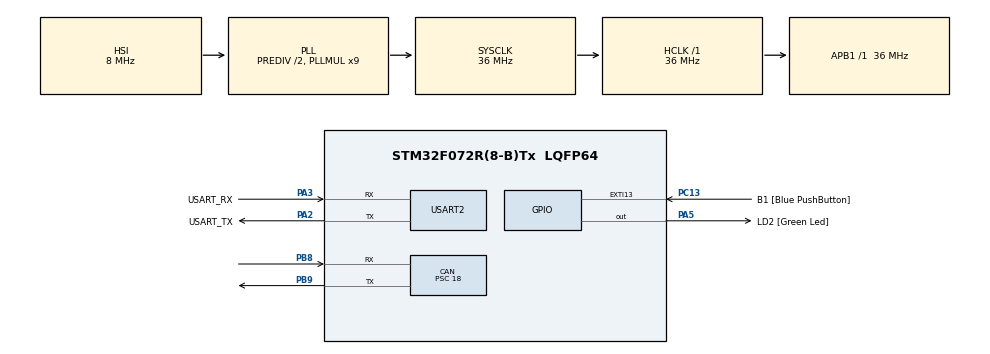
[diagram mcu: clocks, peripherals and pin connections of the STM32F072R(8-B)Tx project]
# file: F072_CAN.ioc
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CAN.BS1=CAN_BS1_8TQ
CAN.BS2=CAN_BS2_7TQ
CAN.CalculateBaudRate=125000
CAN.CalculateTimeBit=8000
CAN.CalculateTimeQuantum=500.0
CAN.Mode=CAN_MODE_NORMAL
CAN.NART=DISABLE
CAN.Prescaler=18
CAN.RFLM=DISABLE
Mcu.Family=STM32F0
Mcu.Name=STM32F072R(8-B)Tx
Mcu.Package=LQFP64
NVIC.CEC_CAN_IRQn=true\:0\:0\:false\:false\:true\:true\:true\:true
PA13.GPIO_Label=TMS
PA13.Mode=Serial_Wire
PA13.Signal=SYS_SWDIO
PA14.GPIO_Label=TCK
PA14.Mode=Serial_Wire
PA14.Signal=SYS_SWCLK
PA2.GPIO_Label=USART_TX
PA2.GPIO_Mode=GPIO_MODE_AF_PP
PA2.GPIO_PuPd=GPIO_NOPULL
PA2.GPIO_Speed=GPIO_SPEED_FREQ_LOW
PA2.Mode=Asynchronous
PA2.Signal=USART2_TX
PA3.GPIO_Label=USART_RX
PA3.GPIO_Mode=GPIO_MODE_AF_PP
PA3.GPIO_PuPd=GPIO_NOPULL
PA3.GPIO_Speed=GPIO_SPEED_FREQ_LOW
PA3.Mode=Asynchronous
PA3.Signal=USART2_RX
PA5.GPIO_Label=LD2 [Green Led]
PA5.GPIO_Mode=GPIO_MODE_OUTPUT_PP
PA5.GPIO_PuPd=GPIO_NOPULL
PA5.GPIO_Speed=GPIO_SPEED_FREQ_LOW
PA5.Signal=GPIO_Output
PB8.Mode=CAN_Activate
PB8.Signal=CAN_RX
PB9.Mode=CAN_Activate
PB9.Signal=CAN_TX
PC13.GPIO_Label=B1 [Blue PushButton]
PC13.GPIO_ModeDefaultEXTI=GPIO_MODE_IT_FALLING
PC13.Signal=GPXTI13
PC14-OSC32_IN.Mode=LSE-External-Oscillator
PC14-OSC32_IN.Signal=RCC_OSC32_IN
PC15-OSC32_OUT.Mode=LSE-External-Oscillator
PC15-OSC32_OUT.Signal=RCC_OSC32_OUT
PF0-OSC_IN.Mode=HSE-External-Clock-Source
PF0-OSC_IN.Signal=RCC_OSC_IN
PF1-OSC_OUT.Signal=RCC_OSC_OUT
ProjectManager.HeapSize=0x200
ProjectManager.StackSize=0x400
ProjectManager.TargetToolchain=STM32CubeIDE
RCC.AHBFreq_Value=36000000
RCC.APB1Freq_Value=36000000
RCC.APB1TimFreq_Value=36000000
RCC.FLatency-AdvancedSettings=FLASH_LATENCY_1
RCC.HCLKFreq_Value=36000000
RCC.PLLDivider=RCC_PREDIV_DIV2
RCC.PLLMUL=RCC_PLL_MUL9
RCC.PREFETCH_ENABLE-AdvancedSettings=1
RCC.SYSCLKFreq_VALUE=36000000
RCC.SYSCLKSource=RCC_SYSCLKSOURCE_PLLCLK
USART2.VirtualMode=VM_ASYNC
USART2.VirtualMode-Asynchronous=VM_ASYNC
board=NUCLEO-F072RB

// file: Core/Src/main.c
/* USER CODE BEGIN Header */
/* USER CODE END Header */
#include "main.h"

 CAN_HandleTypeDef hcan;

UART_HandleTypeDef huart2;

void SystemClock_Config(void);
static void MX_GPIO_Init(void);
static void MX_USART2_UART_Init(void);
static void MX_CAN_Init(void);

/* USER CODE BEGIN 0 */

CAN_TxHeaderTypeDef TxHeader;
CAN_RxHeaderTypeDef RxHeader;

uint32_t TxMailbox;
uint8_t TxData[8];
uint8_t RxData[8];

uint8_t count = 0;

void HAL_CAN_RxFifo0MsgPendingCallback(CAN_HandleTypeDef *hcan){

}

/* USER CODE END 0 */

int main(void)
{

  /* MCU Configuration--------------------------------------------------------*/

  /* Reset of all peripherals, Initializes the Flash interface and the Systick. */
  HAL_Init();

  /* Configure the system clock */
  SystemClock_Config();

  /* Initialize all configured peripherals */
  MX_GPIO_Init();
  MX_USART2_UART_Init();
  MX_CAN_Init();
  /* USER CODE BEGIN 2 */

  HAL_CAN_Start(&hcan);

  HAL_CAN_ActivateNotification(&hcan, CAN_IT_RX_FIFO0_MSG_PENDING);

  TxHeader.DLC = 1;
  TxHeader.ExtId = 0;
  TxHeader.IDE = CAN_ID_STD;
  TxHeader.RTR = CAN_RTR_DATA;
  TxHeader.StdId = 0x102;
  TxHeader.TransmitGlobalTime = DISABLE;

  TxData[0]= 0x11;

  HAL_GPIO_WritePin(LD2_GPIO_Port, LD2_Pin, 1);

  /* USER CODE END 2 */

  /* Infinite loop */
  /* USER CODE BEGIN WHILE */
  while (1)
  {
	  HAL_GPIO_WritePin(LD2_GPIO_Port, LD2_Pin, 1);			//sygnalizacja dzialania petli
	  if(HAL_GPIO_ReadPin(B1_GPIO_Port, B1_Pin)==0){		//wcisniecie przycisku zaczyna wyliczanie i wysylanie kolejnych adresow
		  for(int i=1;i<(0xEFF-1);i++){						//wyliczanie od 1 do max adresu w STANDARD CAN
		  TxHeader.StdId=i;
		  HAL_CAN_AddTxMessage(&hcan, &TxHeader, TxData, &TxMailbox);
		  HAL_Delay(500);

		  if(HAL_GPIO_ReadPin(B1_GPIO_Port, B1_Pin)==0){	//wyjscie z podwojnym sprawdzeniem przycisku i mrugnieciem ledem
			  HAL_Delay(500);
			  if(HAL_GPIO_ReadPin(B1_GPIO_Port, B1_Pin)==0){
			  HAL_GPIO_WritePin(LD2_GPIO_Port, LD2_Pin, 0);
			  HAL_Delay(500);
			  HAL_GPIO_WritePin(LD2_GPIO_Port, LD2_Pin, 1);
			  HAL_Delay(500);
			  break;
			  }
		  }
		  }
	  }

    /* USER CODE END WHILE */

  }
}

void SystemClock_Config(void)
{
  RCC_OscInitTypeDef RCC_OscInitStruct = {0};
  RCC_ClkInitTypeDef RCC_ClkInitStruct = {0};
  RCC_PeriphCLKInitTypeDef PeriphClkInit = {0};

  /** Initializes the RCC Oscillators according to the specified parameters
  * in the RCC_OscInitTypeDef structure.
  */
  RCC_OscInitStruct.OscillatorType = RCC_OSCILLATORTYPE_HSI;
  RCC_OscInitStruct.HSIState = RCC_HSI_ON;
  RCC_OscInitStruct.HSICalibrationValue = RCC_HSICALIBRATION_DEFAULT;
  RCC_OscInitStruct.PLL.PLLState = RCC_PLL_ON;
  RCC_OscInitStruct.PLL.PLLSource = RCC_PLLSOURCE_HSI;
  RCC_OscInitStruct.PLL.PLLMUL = RCC_PLL_MUL9;
  RCC_OscInitStruct.PLL.PREDIV = RCC_PREDIV_DIV2;
  if (HAL_RCC_OscConfig(&RCC_OscInitStruct) != HAL_OK)
  {
    Error_Handler();
  }

  /** Initializes the CPU, AHB and APB buses clocks
  */
  RCC_ClkInitStruct.ClockType = RCC_CLOCKTYPE_HCLK|RCC_CLOCKTYPE_SYSCLK
                              |RCC_CLOCKTYPE_PCLK1;
  RCC_ClkInitStruct.SYSCLKSource = RCC_SYSCLKSOURCE_PLLCLK;
  RCC_ClkInitStruct.AHBCLKDivider = RCC_SYSCLK_DIV1;
  RCC_ClkInitStruct.APB1CLKDivider = RCC_HCLK_DIV1;

  if (HAL_RCC_ClockConfig(&RCC_ClkInitStruct, FLASH_LATENCY_1) != HAL_OK)
  {
    Error_Handler();
  }
  PeriphClkInit.PeriphClockSelection = RCC_PERIPHCLK_USART2;
  PeriphClkInit.Usart2ClockSelection = RCC_USART2CLKSOURCE_PCLK1;
  if (HAL_RCCEx_PeriphCLKConfig(&PeriphClkInit) != HAL_OK)
  {
    Error_Handler();
  }
}

static void MX_CAN_Init(void)
{

  hcan.Instance = CAN;
  hcan.Init.Prescaler = 18;
  hcan.Init.Mode = CAN_MODE_NORMAL;
  hcan.Init.SyncJumpWidth = CAN_SJW_1TQ;
  hcan.Init.TimeSeg1 = CAN_BS1_8TQ;
  hcan.Init.TimeSeg2 = CAN_BS2_7TQ;
  hcan.Init.TimeTriggeredMode = DISABLE;
  hcan.Init.AutoBusOff = DISABLE;
  hcan.Init.AutoWakeUp = DISABLE;
  hcan.Init.AutoRetransmission = DISABLE;
  hcan.Init.ReceiveFifoLocked = DISABLE;
  hcan.Init.TransmitFifoPriority = DISABLE;
  if (HAL_CAN_Init(&hcan) != HAL_OK)
  {
    Error_Handler();
  }
  /* USER CODE BEGIN CAN_Init 2 */

  CAN_FilterTypeDef canfilterconfig;

  canfilterconfig.FilterActivation = CAN_FILTER_ENABLE;
  canfilterconfig.FilterBank = 18;  // which filter bank to use from the assigned ones
  canfilterconfig.FilterFIFOAssignment = CAN_RX_FIFO0;
  canfilterconfig.FilterIdHigh = 0x103<<5;
  canfilterconfig.FilterIdLow = 0x0000;
  canfilterconfig.FilterMaskIdHigh = 0x103<<5;
  canfilterconfig.FilterMaskIdLow = 0x0000;
  canfilterconfig.FilterMode = CAN_FILTERMODE_IDMASK;
  canfilterconfig.FilterScale = CAN_FILTERSCALE_32BIT;
  canfilterconfig.SlaveStartFilterBank = 20;  // how many filters to assign to the CAN1 (master can)

  HAL_CAN_ConfigFilter(&hcan, &canfilterconfig);
  /* USER CODE END CAN_Init 2 */

}

static void MX_USART2_UART_Init(void)
{

  huart2.Instance = USART2;
  huart2.Init.BaudRate = 38400;
  huart2.Init.WordLength = UART_WORDLENGTH_8B;
  huart2.Init.StopBits = UART_STOPBITS_1;
  huart2.Init.Parity = UART_PARITY_NONE;
  huart2.Init.Mode = UART_MODE_TX_RX;
  huart2.Init.HwFlowCtl = UART_HWCONTROL_NONE;
  huart2.Init.OverSampling = UART_OVERSAMPLING_16;
  huart2.Init.OneBitSampling = UART_ONE_BIT_SAMPLE_DISABLE;
  huart2.AdvancedInit.AdvFeatureInit = UART_ADVFEATURE_NO_INIT;
  if (HAL_UART_Init(&huart2) != HAL_OK)
  {
    Error_Handler();
  }

}

static void MX_GPIO_Init(void)
{
  GPIO_InitTypeDef GPIO_InitStruct = {0};

  /* GPIO Ports Clock Enable */
  __HAL_RCC_GPIOC_CLK_ENABLE();
  __HAL_RCC_GPIOF_CLK_ENABLE();
  __HAL_RCC_GPIOA_CLK_ENABLE();
  __HAL_RCC_GPIOB_CLK_ENABLE();

  /*Configure GPIO pin Output Level */
  HAL_GPIO_WritePin(LD2_GPIO_Port, LD2_Pin, GPIO_PIN_RESET);

  /*Configure GPIO pin : B1_Pin */
  GPIO_InitStruct.Pin = B1_Pin;
  GPIO_InitStruct.Mode = GPIO_MODE_IT_FALLING;
  GPIO_InitStruct.Pull = GPIO_NOPULL;
  HAL_GPIO_Init(B1_GPIO_Port, &GPIO_InitStruct);

  /*Configure GPIO pin : LD2_Pin */
  GPIO_InitStruct.Pin = LD2_Pin;
  GPIO_InitStruct.Mode = GPIO_MODE_OUTPUT_PP;
  GPIO_InitStruct.Pull = GPIO_NOPULL;
  GPIO_InitStruct.Speed = GPIO_SPEED_FREQ_LOW;
  HAL_GPIO_Init(LD2_GPIO_Port, &GPIO_InitStruct);

}

void Error_Handler(void)
{
}
